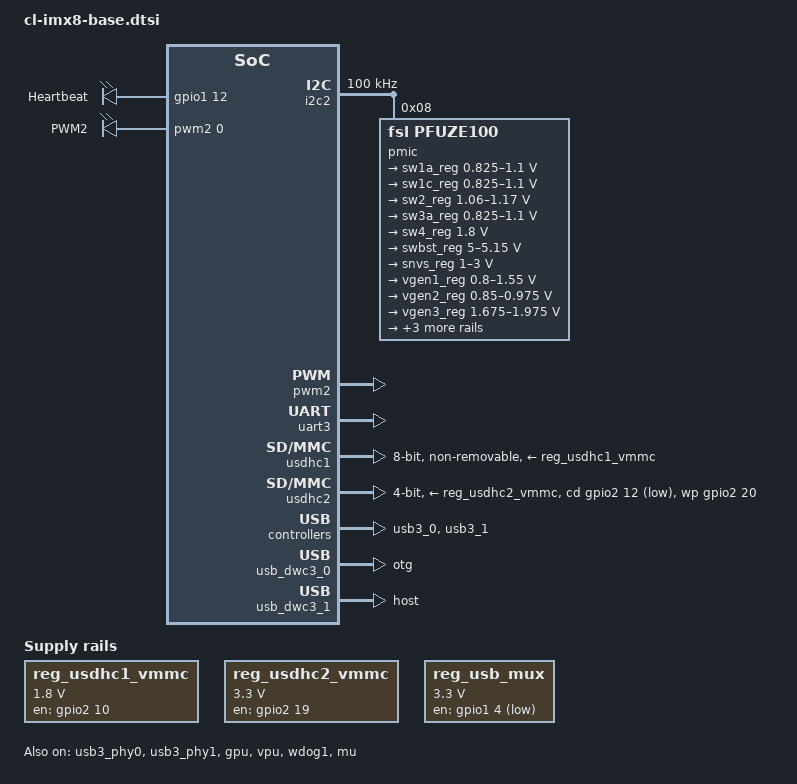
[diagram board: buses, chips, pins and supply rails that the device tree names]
/ {
	chosen {
		bootargs = "console=ttymxc2,115200 earlycon=ec_imx6q,0x30880000,115200";
		stdout-path = &uart3;
	};

	leds {
		compatible = "gpio-leds";
		heartbeat-led {
			label = "Heartbeat";
			gpios = <&gpio1 12 0>;
			linux,default-trigger = "heartbeat";
		};
	};

	regulators {
		compatible = "simple-bus";
		#address-cells = <1>;
		#size-cells = <0>;

		reg_usdhc1_vmmc: regulator-vsd-1v8 {
			compatible = "regulator-fixed";
			pinctrl-names = "default";
			pinctrl-0 = <&pinctrl_usdhc1_reg>;
			regulator-name = "USBHC1_VSD_1V8";
			regulator-min-microvolt = <1800000>;
			regulator-max-microvolt = <1800000>;
			gpio = <&gpio2 10 GPIO_ACTIVE_HIGH>;
			off-on-delay = <20000>;
			enable-active-high;
		};

		reg_usdhc2_vmmc: regulator-vsd-3v3 {
			compatible = "regulator-fixed";
			pinctrl-names = "default";
			pinctrl-0 = <&pinctrl_usdhc2_reg>;
			regulator-name = "USDHC2_VSD_3V3";
			regulator-min-microvolt = <3300000>;
			regulator-max-microvolt = <3300000>;
			gpio = <&gpio2 19 GPIO_ACTIVE_HIGH>;
			off-on-delay = <20000>;
			enable-active-high;
		};

		reg_usb_mux: regulator-usb-mux {
			compatible = "regulator-fixed";
			pinctrl-names = "default";
			pinctrl-0 = <&pinctrl_usbimux1>;
			regulator-name = "usb_mux";
			regulator-min-microvolt = <3300000>;
			regulator-max-microvolt = <3300000>;
			gpio = <&gpio1 4 GPIO_ACTIVE_HIGH>;
			regulator-always-on;
			enable-active-low;
		};
	};

	pwmleds {
		compatible = "pwm-leds";

		ledpwm2 {
			label = "PWM2";
			pwms = <&pwm2 0 50000>;
			max-brightness = <255>;
		};
	};
};

&iomuxc {
	pinctrl-names = "default";
	pinctrl-0 = <&pinctrl_hog>;

	rvphone-cl-imx8 {
		pinctrl_hog: hoggrp {
			fsl,pins = <
				MX8MQ_IOMUXC_GPIO1_IO12_GPIO1_IO12		0x16
			>;
		};

		pinctrl_usbimux1: usbmux1grp {
			fsl,pins = <
				MX8MQ_IOMUXC_GPIO1_IO04_GPIO1_IO4		0x16
			>;
		};

		pinctrl_usdhc1_reg: usdhc1reggrp {
			fsl,pins = <
				MX8MQ_IOMUXC_SD1_RESET_B_GPIO2_IO10		0x1c
			>;
		};

		pinctrl_usdhc2_reg: usdhc2reggrp {
			fsl,pins = <
				MX8MQ_IOMUXC_SD2_RESET_B_GPIO2_IO19		0x41
			>;
		};

		pinctrl_i2c2: i2c2grp {
			fsl,pins = <
				MX8MQ_IOMUXC_I2C2_SCL_I2C2_SCL			0x4000007f
				MX8MQ_IOMUXC_I2C2_SDA_I2C2_SDA			0x4000007f
			>;
		};

		pinctrl_i2c3: i2c3grp {
			fsl,pins = <
				MX8MQ_IOMUXC_I2C3_SCL_I2C3_SCL			0x4000007f
				MX8MQ_IOMUXC_I2C3_SDA_I2C3_SDA			0x4000007f
			>;
		};

		pinctrl_pwm2: pwm2grp {
			fsl,pins = <
				MX8MQ_IOMUXC_I2C4_SCL_PWM2_OUT 			0x16
			>;
		};

		pinctrl_uart3: uart3grp {
			fsl,pins = <
				MX8MQ_IOMUXC_UART3_TXD_UART3_DCE_TX		0x79
				MX8MQ_IOMUXC_UART3_RXD_UART3_DCE_RX		0x79
				MX8MQ_IOMUXC_ECSPI1_MISO_UART3_DCE_CTS_B	0x79
				MX8MQ_IOMUXC_ECSPI1_SS0_UART3_DCE_RTS_B		0x79
				MX8MQ_IOMUXC_NAND_CLE_GPIO3_IO5			0x19
			>;
		};

		pinctrl_usdhc1: usdhc1grp {
			fsl,pins = <
				MX8MQ_IOMUXC_SD1_CLK_USDHC1_CLK			0x83
				MX8MQ_IOMUXC_SD1_CMD_USDHC1_CMD			0xc3
				MX8MQ_IOMUXC_SD1_DATA0_USDHC1_DATA0		0xc3
				MX8MQ_IOMUXC_SD1_DATA1_USDHC1_DATA1		0xc3
				MX8MQ_IOMUXC_SD1_DATA2_USDHC1_DATA2		0xc3
				MX8MQ_IOMUXC_SD1_DATA3_USDHC1_DATA3		0xc3
				MX8MQ_IOMUXC_SD1_DATA4_USDHC1_DATA4		0xc3
				MX8MQ_IOMUXC_SD1_DATA5_USDHC1_DATA5		0xc3
				MX8MQ_IOMUXC_SD1_DATA6_USDHC1_DATA6		0xc3
				MX8MQ_IOMUXC_SD1_DATA7_USDHC1_DATA7		0xc3
				MX8MQ_IOMUXC_SD1_STROBE_USDHC1_STROBE 		0x83
			>;
		};

		pinctrl_usdhc1_100mhz: usdhc1grp100mhz {
			fsl,pins = <
				MX8MQ_IOMUXC_SD1_CLK_USDHC1_CLK			0x8d
				MX8MQ_IOMUXC_SD1_CMD_USDHC1_CMD			0xcd
				MX8MQ_IOMUXC_SD1_DATA0_USDHC1_DATA0		0xcd
				MX8MQ_IOMUXC_SD1_DATA1_USDHC1_DATA1		0xcd
				MX8MQ_IOMUXC_SD1_DATA2_USDHC1_DATA2		0xcd
				MX8MQ_IOMUXC_SD1_DATA3_USDHC1_DATA3		0xcd
				MX8MQ_IOMUXC_SD1_DATA4_USDHC1_DATA4		0xcd
				MX8MQ_IOMUXC_SD1_DATA5_USDHC1_DATA5		0xcd
				MX8MQ_IOMUXC_SD1_DATA6_USDHC1_DATA6		0xcd
				MX8MQ_IOMUXC_SD1_DATA7_USDHC1_DATA7		0xcd
				MX8MQ_IOMUXC_SD1_STROBE_USDHC1_STROBE		0x8d
			>;
		};

		pinctrl_usdhc1_200mhz: usdhc1grp200mhz {
			fsl,pins = <
				MX8MQ_IOMUXC_SD1_CLK_USDHC1_CLK			0x9f
				MX8MQ_IOMUXC_SD1_CMD_USDHC1_CMD			0xdf
				MX8MQ_IOMUXC_SD1_DATA0_USDHC1_DATA0		0xdf
				MX8MQ_IOMUXC_SD1_DATA1_USDHC1_DATA1		0xdf
				MX8MQ_IOMUXC_SD1_DATA2_USDHC1_DATA2		0xdf
				MX8MQ_IOMUXC_SD1_DATA3_USDHC1_DATA3		0xdf
				MX8MQ_IOMUXC_SD1_DATA4_USDHC1_DATA4		0xdf
				MX8MQ_IOMUXC_SD1_DATA5_USDHC1_DATA5		0xdf
				MX8MQ_IOMUXC_SD1_DATA6_USDHC1_DATA6		0xdf
				MX8MQ_IOMUXC_SD1_DATA7_USDHC1_DATA7		0xdf
				MX8MQ_IOMUXC_SD1_STROBE_USDHC1_STROBE		0x9f
			>;
		};

		pinctrl_usdhc2_gpio: usdhc2grpgpio {
			fsl,pins = <
				MX8MQ_IOMUXC_SD2_WP_GPIO2_IO20			0x41
				MX8MQ_IOMUXC_SD2_CD_B_GPIO2_IO12		0x41
			>;
		};

		pinctrl_usdhc2: usdhc2grp {
			fsl,pins = <
				MX8MQ_IOMUXC_SD2_CLK_USDHC2_CLK			0x83
				MX8MQ_IOMUXC_SD2_CMD_USDHC2_CMD			0xc3
				MX8MQ_IOMUXC_SD2_DATA0_USDHC2_DATA0		0xc3
				MX8MQ_IOMUXC_SD2_DATA1_USDHC2_DATA1		0xc3
				MX8MQ_IOMUXC_SD2_DATA2_USDHC2_DATA2		0xc3
				MX8MQ_IOMUXC_SD2_DATA3_USDHC2_DATA3		0xc3
			>;
		};

		pinctrl_usdhc2_100mhz: usdhc2grp100mhz {
			fsl,pins = <
				MX8MQ_IOMUXC_SD2_CLK_USDHC2_CLK			0x8d
				MX8MQ_IOMUXC_SD2_CMD_USDHC2_CMD			0xcd
				MX8MQ_IOMUXC_SD2_DATA0_USDHC2_DATA0		0xcd
				MX8MQ_IOMUXC_SD2_DATA1_USDHC2_DATA1		0xcd
				MX8MQ_IOMUXC_SD2_DATA2_USDHC2_DATA2		0xcd
				MX8MQ_IOMUXC_SD2_DATA3_USDHC2_DATA3		0xcd
			>;
		};

		pinctrl_usdhc2_200mhz: usdhc2grp200mhz {
			fsl,pins = <
				MX8MQ_IOMUXC_SD2_CLK_USDHC2_CLK			0x9f
				MX8MQ_IOMUXC_SD2_CMD_USDHC2_CMD			0xdf
				MX8MQ_IOMUXC_SD2_DATA0_USDHC2_DATA0		0xdf
				MX8MQ_IOMUXC_SD2_DATA1_USDHC2_DATA1		0xdf
				MX8MQ_IOMUXC_SD2_DATA2_USDHC2_DATA2		0xdf
				MX8MQ_IOMUXC_SD2_DATA3_USDHC2_DATA3		0xdf
			>;
		};

		pinctrl_wdog: wdoggrp {
			fsl,pins = <
				MX8MQ_IOMUXC_GPIO1_IO02_WDOG1_WDOG_B		0xc6
			>;
		};
	};
};

&i2c2 {
	clock-frequency = <100000>;
	pinctrl-names = "default";
	pinctrl-0 = <&pinctrl_i2c2>;
	status = "okay";

	pmic@8 {
		compatible = "fsl,pfuze100";
		fsl,pfuze-support-disable-sw;
		reg = <0x8>;

		regulators {
			sw1a_reg: sw1ab {
				regulator-min-microvolt = <825000>;
				regulator-max-microvolt = <1100000>;
				regulator-always-on;
			};

			sw1c_reg: sw1c {
				regulator-min-microvolt = <825000>;
				regulator-max-microvolt = <1100000>;
				regulator-always-on;
			};

			sw2_reg: sw2 {
				regulator-min-microvolt = <1060000>;
				regulator-max-microvolt = <1170000>;
				regulator-always-on;
			};

			sw3a_reg: sw3ab {
				regulator-min-microvolt = <825000>;
				regulator-max-microvolt = <1100000>;
				regulator-always-on;
			};

			sw4_reg: sw4 {
				regulator-min-microvolt = <1800000>;
				regulator-max-microvolt = <1800000>;
				regulator-always-on;
			};

			swbst_reg: swbst {
				regulator-min-microvolt = <5000000>;
				regulator-max-microvolt = <5150000>;
			};

			snvs_reg: vsnvs {
				regulator-min-microvolt = <1000000>;
				regulator-max-microvolt = <3000000>;
				regulator-always-on;
			};

			vref_reg: vrefddr {
				regulator-always-on;
			};

			vgen1_reg: vgen1 {
				regulator-min-microvolt = <800000>;
				regulator-max-microvolt = <1550000>;
			};

			vgen2_reg: vgen2 {
				regulator-min-microvolt = <850000>;
				regulator-max-microvolt = <975000>;
				regulator-always-on;
			};

			vgen3_reg: vgen3 {
				regulator-min-microvolt = <1675000>;
				regulator-max-microvolt = <1975000>;
				regulator-always-on;
			};

			vgen4_reg: vgen4 {
				regulator-min-microvolt = <1625000>;
				regulator-max-microvolt = <1875000>;
				regulator-always-on;
			};

			vgen5_reg: vgen5 {
				regulator-min-microvolt = <3075000>;
				regulator-max-microvolt = <3625000>;
				regulator-always-on;
			};

			vgen6_reg: vgen6 {
				regulator-min-microvolt = <1800000>;
				regulator-max-microvolt = <3300000>;
			};
		};
	};
};

&i2c3 {
	clock-frequency = <400000>;
	pinctrl-names = "default";
	pinctrl-0 = <&pinctrl_i2c3>;
	status = "disabled";
};

&pwm2 {
	pinctrl-names = "default";
	pinctrl-0 = <&pinctrl_pwm2>;
	status = "okay";
};

&uart3 { /* console */
	pinctrl-names = "default";
	pinctrl-0 = <&pinctrl_uart3>;
	assigned-clocks = <&clk IMX8MQ_CLK_UART3>;
	assigned-clock-parents = <&clk IMX8MQ_CLK_25M>;
	status = "okay";
};

&usdhc1 {
	pinctrl-names = "default", "state_100mhz", "state_200mhz";
	pinctrl-0 = <&pinctrl_usdhc1>;
	pinctrl-1 = <&pinctrl_usdhc1_100mhz>;
	pinctrl-2 = <&pinctrl_usdhc1_200mhz>;
	bus-width = <8>;
	non-removable;
	vmmc-supply = <&reg_usdhc1_vmmc>;
	status = "okay";
};

&usdhc2 {
	pinctrl-names = "default", "state_100mhz", "state_200mhz";
	pinctrl-0 = <&pinctrl_usdhc2>, <&pinctrl_usdhc2_gpio>;
	pinctrl-1 = <&pinctrl_usdhc2_100mhz>, <&pinctrl_usdhc2_gpio>;
	pinctrl-2 = <&pinctrl_usdhc2_200mhz>, <&pinctrl_usdhc2_gpio>;
	bus-width = <4>;
	cd-gpios = <&gpio2 12 GPIO_ACTIVE_LOW>;
	wp-gpios = <&gpio2 20 GPIO_ACTIVE_HIGH>;
	vmmc-supply = <&reg_usdhc2_vmmc>;
	no-1-8-v;
	status = "okay";
};

&usb3_phy0 {
	status = "okay";
};

&usb3_0 {
	status = "okay";
};

&usb_dwc3_0 {
	status = "okay";
	dr_mode = "otg";
};

&usb3_phy1 {
	status = "okay";
};

&usb3_1 {
	status = "okay";
};

&usb_dwc3_1 {
	status = "okay";
	dr_mode = "host";
};

&gpu_pd {
	power-supply = <&sw1a_reg>;
};

&vpu_pd {
	power-supply = <&sw1c_reg>;
};

&gpu {
	status = "okay";
};

&vpu {
	status = "okay";
};

&wdog1 {
	pinctrl-names = "default";
	pinctrl-0 = <&pinctrl_wdog>;
	fsl,ext-reset-output;
	status = "okay";
};

&mu {
	status = "okay";
};

&A53_0 {
	operating-points = <
		/* kHz    uV */
		1500000 1000000
		1300000 1000000
		1000000 900000
		800000  900000
	>;
};

&resmem {
	linux,cma {
		compatible = "shared-dma-pool";
		reusable;
		size = <0 0x2c000000>;
		alloc-ranges = <0 0x40000000 0 0x40000000>;
		linux,cma-default;
	};
};
